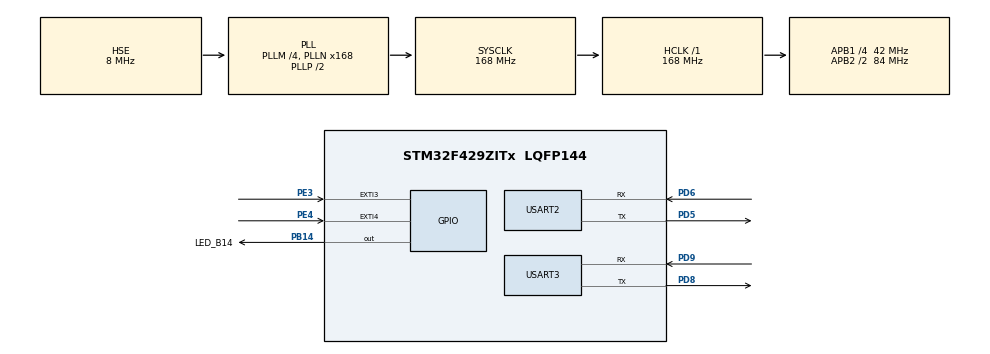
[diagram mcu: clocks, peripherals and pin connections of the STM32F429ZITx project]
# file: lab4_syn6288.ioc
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Dma.Request0=USART3_TX
Dma.Request1=USART3_RX
Dma.Request2=USART2_RX
Dma.Request3=USART2_TX
Dma.USART2_RX.2.Direction=DMA_PERIPH_TO_MEMORY
Dma.USART2_RX.2.FIFOMode=DMA_FIFOMODE_DISABLE
Dma.USART2_RX.2.Instance=DMA1_Stream5
Dma.USART2_RX.2.MemDataAlignment=DMA_MDATAALIGN_BYTE
Dma.USART2_RX.2.MemInc=DMA_MINC_ENABLE
Dma.USART2_RX.2.Mode=DMA_NORMAL
Dma.USART2_RX.2.PeriphDataAlignment=DMA_PDATAALIGN_BYTE
Dma.USART2_RX.2.PeriphInc=DMA_PINC_DISABLE
Dma.USART2_RX.2.Priority=DMA_PRIORITY_LOW
Dma.USART2_TX.3.Direction=DMA_MEMORY_TO_PERIPH
Dma.USART2_TX.3.FIFOMode=DMA_FIFOMODE_DISABLE
Dma.USART2_TX.3.Instance=DMA1_Stream6
Dma.USART2_TX.3.MemDataAlignment=DMA_MDATAALIGN_BYTE
Dma.USART2_TX.3.MemInc=DMA_MINC_ENABLE
Dma.USART2_TX.3.Mode=DMA_NORMAL
Dma.USART2_TX.3.PeriphDataAlignment=DMA_PDATAALIGN_BYTE
Dma.USART2_TX.3.PeriphInc=DMA_PINC_DISABLE
Dma.USART2_TX.3.Priority=DMA_PRIORITY_LOW
Dma.USART3_RX.1.Direction=DMA_PERIPH_TO_MEMORY
Dma.USART3_RX.1.FIFOMode=DMA_FIFOMODE_DISABLE
Dma.USART3_RX.1.Instance=DMA1_Stream1
Dma.USART3_RX.1.MemDataAlignment=DMA_MDATAALIGN_BYTE
Dma.USART3_RX.1.MemInc=DMA_MINC_ENABLE
Dma.USART3_RX.1.Mode=DMA_NORMAL
Dma.USART3_RX.1.PeriphDataAlignment=DMA_PDATAALIGN_BYTE
Dma.USART3_RX.1.PeriphInc=DMA_PINC_DISABLE
Dma.USART3_RX.1.Priority=DMA_PRIORITY_LOW
Dma.USART3_TX.0.Direction=DMA_MEMORY_TO_PERIPH
Dma.USART3_TX.0.FIFOMode=DMA_FIFOMODE_DISABLE
Dma.USART3_TX.0.Instance=DMA1_Stream3
Dma.USART3_TX.0.MemDataAlignment=DMA_MDATAALIGN_BYTE
Dma.USART3_TX.0.MemInc=DMA_MINC_ENABLE
Dma.USART3_TX.0.Mode=DMA_NORMAL
Dma.USART3_TX.0.PeriphDataAlignment=DMA_PDATAALIGN_BYTE
Dma.USART3_TX.0.PeriphInc=DMA_PINC_DISABLE
Dma.USART3_TX.0.Priority=DMA_PRIORITY_LOW
FREERTOS.Tasks01=defaultTask,24,128,StartDefaultTask,Default,NULL,Dynamic,NULL,NULL
Mcu.Family=STM32F4
Mcu.Name=STM32F429ZITx
Mcu.Package=LQFP144
NVIC.DMA1_Stream1_IRQn=true\:5\:0\:false\:false\:true\:true\:false\:true\:true
NVIC.DMA1_Stream3_IRQn=true\:5\:0\:false\:false\:true\:true\:false\:true\:true
NVIC.DMA1_Stream5_IRQn=true\:5\:0\:false\:false\:true\:true\:false\:true\:true
NVIC.DMA1_Stream6_IRQn=true\:5\:0\:false\:false\:true\:true\:false\:true\:true
NVIC.EXTI3_IRQn=true\:5\:0\:false\:false\:true\:true\:true\:true\:true
NVIC.EXTI4_IRQn=true\:5\:0\:false\:false\:true\:true\:true\:true\:true
NVIC.PriorityGroup=NVIC_PRIORITYGROUP_4
NVIC.USART2_IRQn=true\:5\:0\:false\:false\:true\:true\:true\:true\:true
NVIC.USART3_IRQn=true\:5\:0\:false\:false\:true\:true\:true\:true\:true
PA13.Mode=Serial_Wire
PA13.Signal=SYS_JTMS-SWDIO
PA14.Mode=Serial_Wire
PA14.Signal=SYS_JTCK-SWCLK
PB14.GPIO_Label=LED_B14
PB14.Signal=GPIO_Output
PC14/OSC32_IN.Mode=LSE-External-Oscillator
PC14/OSC32_IN.Signal=RCC_OSC32_IN
PC15/OSC32_OUT.Mode=LSE-External-Oscillator
PC15/OSC32_OUT.Signal=RCC_OSC32_OUT
PD5.Mode=Asynchronous
PD5.Signal=USART2_TX
PD6.Mode=Asynchronous
PD6.Signal=USART2_RX
PD8.Mode=Asynchronous
PD8.Signal=USART3_TX
PD9.Mode=Asynchronous
PD9.Signal=USART3_RX
PE3.Signal=GPXTI3
PE4.Signal=GPXTI4
PH0/OSC_IN.Mode=HSE-External-Oscillator
PH0/OSC_IN.Signal=RCC_OSC_IN
PH1/OSC_OUT.Mode=HSE-External-Oscillator
PH1/OSC_OUT.Signal=RCC_OSC_OUT
ProjectManager.HeapSize=0x200
ProjectManager.StackSize=0x400
ProjectManager.TargetToolchain=MDK-ARM V5.32
RCC.48MHZClocksFreq_Value=48000000
RCC.AHBFreq_Value=168000000
RCC.APB1CLKDivider=RCC_HCLK_DIV4
RCC.APB1Freq_Value=42000000
RCC.APB1TimFreq_Value=84000000
RCC.APB2CLKDivider=RCC_HCLK_DIV2
RCC.APB2Freq_Value=84000000
RCC.APB2TimCLKDivider=2
RCC.APB2TimFreq_Value=168000000
RCC.CortexFreq_Value=168000000
RCC.HCLKFreq_Value=168000000
RCC.HSE_VALUE=8000000
RCC.HSI_VALUE=16000000
RCC.PLLM=4
RCC.PLLMUL=RCC_PLL_MUL9
RCC.PLLN=168
RCC.PLLQ=7
RCC.PLLSourceVirtual=RCC_PLLSOURCE_HSE
RCC.PRESCALERUSB=RCC_USBCLKSOURCE_PLL_DIV1_5
RCC.SYSCLKFreq_VALUE=168000000
RCC.SYSCLKSource=RCC_SYSCLKSOURCE_PLLCLK
RCC.SYSCLKSourceVirtual=RCC_SYSCLKSOURCE_PLLCLK
RCC.USBFreq_Value=48000000
RCC.VCOOutputFreq_Value=336000000
USART2.VirtualMode=VM_ASYNC
USART3.VirtualMode=VM_ASYNC
VP_FREERTOS_VS_CMSIS_V2.Mode=CMSIS_V2
board=NUCLEO-F429ZI

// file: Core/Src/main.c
/* USER CODE BEGIN Header */
/**
  ******************************************************************************
  * @file           : main.c
  * @brief          : Main program body
  ******************************************************************************
  * @attention
  *
  * Copyright (c) 2024 STMicroelectronics.
  * All rights reserved.
  *
  * This software is licensed under terms that can be found in the LICENSE file
  * in the root directory of this software component.
  * If no LICENSE file comes with this software, it is provided AS-IS.
  *
  ******************************************************************************
  */
/* USER CODE END Header */
#include "main.h"
#include "cmsis_os.h"
#include "dma.h"
#include "usart.h"
#include "gpio.h"

/* USER CODE BEGIN Includes */
#include "FreeRTOS.h"
#include "task.h"
#include "semphr.h"
#include "string.h"
#include "stdio.h"
/* USER CODE END Includes */

/* USER CODE BEGIN PV */
uint8_t recvBuf[2];

//B11117054
uint8_t tts_data_0[] = {0x5b,0x76,0x36,0x5d,0x5b,0x6d,0x30,0x5d,0x5b,0x74,0x35,0x5d, 0x42,0x31,0x31,0x31,0x31,0x37,0x30,0x35,0x34};
//customized
uint8_t tts_data_1[] = {/*0x5b,0x76,0x36,0x5d,0x5b,0x6d,0x30,0x5d,0x5b,0x74,0x35,0x5d,*/ 0xa6,0xd1,0xa4,0xd1,0xab,0x4f,0xa6,0xf6,0xaa,0xf7,0xa4,0x73,0xbb,0xc8,0xa4,0x73,0xa5,0xfe,0xb3,0xa3,0xa6,0xb3,0x20,0xa6,0xd1,0xa4,0xd1,0xb1,0xd0,0xad,0xf6,0xa7,0x4f,0xba,0xde,0xa6,0xbf,0xb4,0xf2,0xc0,0x73,0xaa,0xea,0xb0,0xab}; //Big5

QueueHandle_t queueMode;

TaskHandle_t handleSYN6288;
SemaphoreHandle_t xSem;
/* USER CODE END PV */

void SystemClock_Config(void);
void MX_FREERTOS_Init(void);

/* USER CODE BEGIN 0 */

void SYN_FrameInfo(uint8_t music, uint8_t *data,uint8_t dataLength)
{

	uint8_t frame[50];
	uint8_t ecc = 0;

	//setting
	frame[0] = 0xfd;
	frame[1] = 0x00;
	frame[2] = dataLength + 3;
	frame[3] = 0x01;
	/*
	0x00 -> GB2312
	0x01 -> GBK
	0x02 -> BIG5
	*/
	frame[4] = 0x02 | music << 4;

	//ecc calculate
	for(int i = 0;i<5;i++)
	{
		ecc = ecc ^ (frame[i]);
	}

	for(int i = 0;i<dataLength;i++)
	{
		ecc = ecc ^ (data[i]);
	}

	//send msg to syn 6288
	memcpy(&frame[5], data, dataLength);
	frame[5 + dataLength] = ecc;
	//HAL_UART_Transmit_DMA(&huart6, frame, 5 + dataLength + 1);
	HAL_UART_Transmit_DMA(&huart2, frame, 5 + dataLength + 1);
}

void SYN_SET(uint8_t *setting)
{
	uint8_t cmdLen;
	cmdLen = strlen((char*)setting);
	HAL_UART_Transmit_DMA(&huart2, setting, cmdLen);
}

void taskSendLoRa(void *pvParm)
{
	uint8_t mode = 0;
	while (1){

		//xQueueReceive(queueMode, &mode, NULL);
    //BaseType_t queueModeReceive =

		if(xQueueReceive(queueMode, &mode, NULL) == pdPASS){
			if (mode == 1){
				char *msg = "B11117054";
				uint16_t len = strlen(msg);
				HAL_StatusTypeDef status = HAL_UART_Transmit(&huart2, (uint8_t*)msg, len, HAL_MAX_DELAY);
				//printf("Send [%d bytes]: %s", len, msg);
				vTaskDelay(500 / portTICK_PERIOD_MS);
			}else if (mode == 2){
				char *msg = "Hello World!";
				uint16_t len = strlen(msg);
				HAL_UART_Transmit(&huart2, (uint8_t*)msg, len, HAL_MAX_DELAY);
				//printf("Send [%d bytes]: %s", len, msg);
				vTaskDelay(500 / portTICK_PERIOD_MS);
			}else {
				vTaskDelay(200 / portTICK_PERIOD_MS);
			}
		}
	}
}

void HAL_GPIO_EXTI_Callback(uint16_t GPIO_Pin)
{
		uint8_t mode = 0;

    switch (GPIO_Pin)
    {
    // sw1 PE3
    case GPIO_PIN_3:
    {
        if (HAL_GPIO_ReadPin(GPIOE, GPIO_PIN_3) == 1)
        {
					mode = 1;
					xQueueSendFromISR(queueMode, &mode, NULL);
        }
        break;
    }
    // sw2 PE4
    case GPIO_PIN_4:
    {
        if (HAL_GPIO_ReadPin(GPIOE, GPIO_PIN_4) == 1)
        {
					mode = 2;
					xQueueSendFromISR(queueMode, &mode, NULL);
        }
        break;
    }
    default:
        break;
    }
}

/* USER CODE END 0 */

int main(void)
{

  /* MCU Configuration--------------------------------------------------------*/

  /* Reset of all peripherals, Initializes the Flash interface and the Systick. */
  HAL_Init();

  /* Configure the system clock */
  SystemClock_Config();

  /* Initialize all configured peripherals */
  MX_GPIO_Init();
  MX_DMA_Init();
  MX_USART3_UART_Init();
  MX_USART2_UART_Init();
  /* USER CODE BEGIN 2 */
	queueMode = xQueueCreate(3, sizeof(uint8_t));
	xTaskCreate(taskSendLoRa, "TTS Service", 1024, NULL, 1, &handleSYN6288);
	vTaskStartScheduler();
  /* USER CODE END 2 */

  /* Init scheduler */
  osKernelInitialize();  /* Call init function for freertos objects (in freertos.c) */
  MX_FREERTOS_Init();

  /* Start scheduler */
  osKernelStart();

  /* We should never get here as control is now taken by the scheduler */
  /* Infinite loop */
  while (1)
  {

  }
}

void SystemClock_Config(void)
{
  RCC_OscInitTypeDef RCC_OscInitStruct = {0};
  RCC_ClkInitTypeDef RCC_ClkInitStruct = {0};

  /** Configure the main internal regulator output voltage
  */
  __HAL_RCC_PWR_CLK_ENABLE();
  __HAL_PWR_VOLTAGESCALING_CONFIG(PWR_REGULATOR_VOLTAGE_SCALE1);

  /** Initializes the RCC Oscillators according to the specified parameters
  * in the RCC_OscInitTypeDef structure.
  */
  RCC_OscInitStruct.OscillatorType = RCC_OSCILLATORTYPE_HSE;
  RCC_OscInitStruct.HSEState = RCC_HSE_ON;
  RCC_OscInitStruct.PLL.PLLState = RCC_PLL_ON;
  RCC_OscInitStruct.PLL.PLLSource = RCC_PLLSOURCE_HSE;
  RCC_OscInitStruct.PLL.PLLM = 4;
  RCC_OscInitStruct.PLL.PLLN = 168;
  RCC_OscInitStruct.PLL.PLLP = RCC_PLLP_DIV2;
  RCC_OscInitStruct.PLL.PLLQ = 7;
  if (HAL_RCC_OscConfig(&RCC_OscInitStruct) != HAL_OK)
  {
    Error_Handler();
  }

  /** Initializes the CPU, AHB and APB buses clocks
  */
  RCC_ClkInitStruct.ClockType = RCC_CLOCKTYPE_HCLK|RCC_CLOCKTYPE_SYSCLK
                              |RCC_CLOCKTYPE_PCLK1|RCC_CLOCKTYPE_PCLK2;
  RCC_ClkInitStruct.SYSCLKSource = RCC_SYSCLKSOURCE_PLLCLK;
  RCC_ClkInitStruct.AHBCLKDivider = RCC_SYSCLK_DIV1;
  RCC_ClkInitStruct.APB1CLKDivider = RCC_HCLK_DIV4;
  RCC_ClkInitStruct.APB2CLKDivider = RCC_HCLK_DIV2;

  if (HAL_RCC_ClockConfig(&RCC_ClkInitStruct, FLASH_LATENCY_5) != HAL_OK)
  {
    Error_Handler();
  }
}

void Error_Handler(void)
{
  __disable_irq();
  while (1)
  {
  }
}
